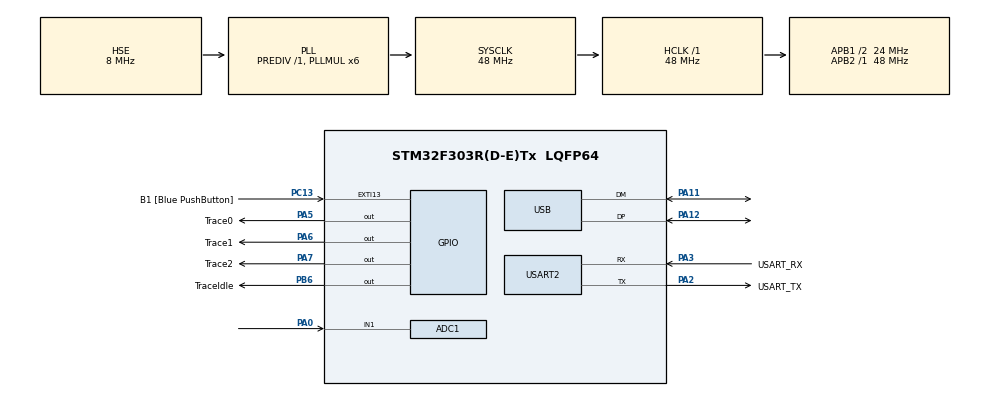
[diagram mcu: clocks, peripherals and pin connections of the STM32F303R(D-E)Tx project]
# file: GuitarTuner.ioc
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ADC1.Channel-0\#ChannelRegularConversion=ADC_CHANNEL_1
ADC1.ContinuousConvMode=DISABLE
ADC1.DMAContinuousRequests=ENABLE
ADC1.ExternalTrigConv=ADC_EXTERNALTRIGCONV_T6_TRGO
ADC1.NbrOfConversion=1
ADC1.NbrOfConversionFlag=1
ADC1.Offset-0\#ChannelRegularConversion=0
ADC1.OffsetNumber-0\#ChannelRegularConversion=ADC_OFFSET_NONE
ADC1.Rank-0\#ChannelRegularConversion=1
ADC1.SamplingTime-0\#ChannelRegularConversion=ADC_SAMPLETIME_1CYCLE_5
ADC1.master=1
Dma.ADC1.0.Direction=DMA_PERIPH_TO_MEMORY
Dma.ADC1.0.Instance=DMA1_Channel1
Dma.ADC1.0.MemDataAlignment=DMA_MDATAALIGN_WORD
Dma.ADC1.0.MemInc=DMA_MINC_ENABLE
Dma.ADC1.0.Mode=DMA_CIRCULAR
Dma.ADC1.0.PeriphDataAlignment=DMA_PDATAALIGN_HALFWORD
Dma.ADC1.0.PeriphInc=DMA_PINC_DISABLE
Dma.ADC1.0.Priority=DMA_PRIORITY_LOW
Dma.Request0=ADC1
FREERTOS.Tasks01=DMATask,24,128,StartDMATask,Default,NULL,Dynamic,NULL,NULL;fftTask,23,128,StartfftTaskTask,Default,NULL,Dynamic,NULL,NULL;elaborateFftDat,8,128,elaborateFftData,Default,NULL,Dynamic,NULL,NULL
FREERTOS.configUSE_IDLE_HOOK=1
FREERTOS.configUSE_NEWLIB_REENTRANT=1
Mcu.Family=STM32F3
Mcu.Name=STM32F303R(D-E)Tx
Mcu.Package=LQFP64
NVIC.DMA1_Channel1_IRQn=true\:5\:0\:false\:false\:true\:true\:false\:true\:true
NVIC.PriorityGroup=NVIC_PRIORITYGROUP_4
NVIC.TIM1_UP_TIM16_IRQn=true\:15\:0\:false\:false\:true\:false\:false\:true\:true
NVIC.TimeBase=TIM1_UP_TIM16_IRQn
NVIC.TimeBaseIP=TIM1
NVIC.USB_LP_CAN_RX0_IRQn=true\:5\:0\:false\:false\:true\:true\:false\:true\:true
PA0.Mode=IN1-Single-Ended
PA0.Signal=ADC1_IN1
PA11.Mode=Device
PA11.Signal=USB_DM
PA12.Mode=Device
PA12.Signal=USB_DP
PA13.GPIO_Label=TMS
PA13.Mode=Serial_Wire
PA13.Signal=SYS_JTMS-SWDIO
PA14.GPIO_Label=TCK
PA14.Mode=Serial_Wire
PA14.Signal=SYS_JTCK-SWCLK
PA2.GPIO_Label=USART_TX
PA2.GPIO_Mode=GPIO_MODE_AF_PP
PA2.GPIO_PuPd=GPIO_NOPULL
PA2.GPIO_Speed=GPIO_SPEED_FREQ_LOW
PA2.Mode=Asynchronous
PA2.Signal=USART2_TX
PA3.GPIO_Label=USART_RX
PA3.GPIO_Mode=GPIO_MODE_AF_PP
PA3.GPIO_PuPd=GPIO_NOPULL
PA3.GPIO_Speed=GPIO_SPEED_FREQ_LOW
PA3.Mode=Asynchronous
PA3.Signal=USART2_RX
PA5.GPIO_Label=Trace0
PA5.GPIO_Mode=GPIO_MODE_OUTPUT_PP
PA5.GPIO_PuPd=GPIO_NOPULL
PA5.GPIO_Speed=GPIO_SPEED_FREQ_LOW
PA5.Signal=GPIO_Output
PA6.GPIO_Label=Trace1
PA6.Signal=GPIO_Output
PA7.GPIO_Label=Trace2
PA7.Signal=GPIO_Output
PB3.GPIO_Label=SWO
PB3.Signal=SYS_JTDO-TRACESWO
PB6.GPIO_Label=TraceIdle
PB6.Signal=GPIO_Output
PC13.GPIO_Label=B1 [Blue PushButton]
PC13.GPIO_ModeDefaultEXTI=GPIO_MODE_IT_FALLING
PC13.Signal=GPXTI13
PC14-OSC32_IN.Mode=LSE-External-Oscillator
PC14-OSC32_IN.Signal=RCC_OSC32_IN
PC15-OSC32_OUT.Mode=LSE-External-Oscillator
PC15-OSC32_OUT.Signal=RCC_OSC32_OUT
PF0-OSC_IN.Mode=HSE-External-Clock-Source
PF0-OSC_IN.Signal=RCC_OSC_IN
PF1-OSC_OUT.Signal=RCC_OSC_OUT
ProjectManager.HeapSize=0x200
ProjectManager.StackSize=0x400
ProjectManager.TargetToolchain=STM32CubeIDE
RCC.AHBFreq_Value=48000000
RCC.APB1CLKDivider=RCC_HCLK_DIV2
RCC.APB1Freq_Value=24000000
RCC.APB1TimFreq_Value=48000000
RCC.APB2Freq_Value=48000000
RCC.APB2TimFreq_Value=48000000
RCC.CortexFreq_Value=48000000
RCC.HCLKFreq_Value=48000000
RCC.HSE_VALUE=8000000
RCC.HSI_VALUE=8000000
RCC.PLLM=8
RCC.PLLMUL=RCC_PLL_MUL6
RCC.PLLN=336
RCC.PLLP=RCC_PLLP_DIV4
RCC.PLLQ=7
RCC.RCC_PLLsource_Clock_Source_FROM_HSE=RCC_HSE_PREDIV_DIV2
RCC.SYSCLKFreq_VALUE=48000000
RCC.SYSCLKSourceVirtual=RCC_SYSCLKSOURCE_PLLCLK
RCC.USBFreq_Value=48000000
STMicroelectronics.X-CUBE-ALGOBUILD.1.4.0.LibraryCcDSPOoLibraryJjDSPOoLibrary=true
TIM6.Period=195-1
TIM6.Prescaler=48-1
TIM6.TIM_MasterOutputTrigger=TIM_TRGO_UPDATE
TIM7.Period=24-1
TIM7.Prescaler=2-1
USART2.VirtualMode-Asynchronous=VM_ASYNC
USB_DEVICE.CLASS_NAME_FS=CDC
USB_DEVICE.VirtualMode=Cdc
USB_DEVICE.VirtualModeFS=Cdc_FS
VP_FREERTOS_VS_CMSIS_V2.Mode=CMSIS_V2
VP_STMicroelectronics.X-CUBE-ALGOBUILD_VS_DSPOoLibraryJjLibrary_1.4.0_1.4.0.Mode=DSPOoLibraryJjLibrary
VP_SYS_VS_tim1.Mode=TIM1
VP_TIM6_VS_ClockSourceINT.Mode=Enable_Timer
VP_TIM7_VS_ClockSourceINT.Mode=Enable_Timer
VP_USB_DEVICE_VS_USB_DEVICE_CDC_FS.Mode=CDC_FS
board=NUCLEO-F303RE

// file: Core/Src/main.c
/* USER CODE BEGIN Header */
/**
  ******************************************************************************
  * @file           : main.c
  * @brief          : Main program body
  ******************************************************************************
  * @attention
  *
  * Copyright (c) 2024 STMicroelectronics.
  * All rights reserved.
  *
  * This software is licensed under terms that can be found in the LICENSE file
  * in the root directory of this software component.
  * If no LICENSE file comes with this software, it is provided AS-IS.
  *
  ******************************************************************************
  */
/* USER CODE END Header */
#include "main.h"
#include "cmsis_os.h"
#include "usb_device.h"

/* USER CODE BEGIN Includes */
#include <string.h>
#include <stdbool.h>
#include "task.h"
#include "arm_math.h"
/* USER CODE END Includes */

/* USER CODE BEGIN PTD */
  /**
   * @brief Output structure for fft data communication
   */
  typedef struct
  {
	  float mag;
	  float frq;
  } FFt_out;
/* USER CODE END PTD */

/* USER CODE BEGIN PD */
#define SAMPLING_FREQUENCY_HZ 5120

#define ADC_BUFFER_LENGTH 2048
#define PARK_BUFFER_LENGTH (ADC_BUFFER_LENGTH / 2)
#define FFT_BUFFER_LENGTH ADC_BUFFER_LENGTH
/* USER CODE END PD */

ADC_HandleTypeDef hadc1;
DMA_HandleTypeDef hdma_adc1;

TIM_HandleTypeDef htim6;
TIM_HandleTypeDef htim7;

UART_HandleTypeDef huart2;

/* Definitions for DMATask */
osThreadId_t DMATaskHandle;
const osThreadAttr_t DMATask_attributes = {
  .name = "DMATask",
  .stack_size = 128 * 4,
  .priority = (osPriority_t) osPriorityNormal,
};
/* Definitions for fftTask */
osThreadId_t fftTaskHandle;
const osThreadAttr_t fftTask_attributes = {
  .name = "fftTask",
  .stack_size = 128 * 4,
  .priority = (osPriority_t) osPriorityBelowNormal7,
};
/* Definitions for elaborateFftDat */
osThreadId_t elaborateFftDatHandle;
const osThreadAttr_t elaborateFftDat_attributes = {
  .name = "elaborateFftDat",
  .stack_size = 128 * 4,
  .priority = (osPriority_t) osPriorityLow,
};
/* USER CODE BEGIN PV */
uint32_t buffer_adc [ADC_BUFFER_LENGTH];

float fft_buffer [FFT_BUFFER_LENGTH];

float fft_buffer_result [FFT_BUFFER_LENGTH];

arm_rfft_fast_instance_f32 fftHandler;

uint8_t fftFlag = 0;

FFt_out fft_out[ADC_BUFFER_LENGTH/2];
/* USER CODE END PV */

void SystemClock_Config(void);
static void MX_GPIO_Init(void);
static void MX_DMA_Init(void);
static void MX_USART2_UART_Init(void);
static void MX_ADC1_Init(void);
static void MX_TIM6_Init(void);
static void MX_TIM7_Init(void);
void StartDMATask(void *argument);
void StartfftTaskTask(void *argument);
void elaborateFftData(void *argument);

/* USER CODE BEGIN PFP */
float calc_magnitude(float real_part, float img_part);
/* USER CODE END PFP */

/* USER CODE BEGIN 0 */

float calc_magnitude(float real_part, float img_part)
{
	return sqrt(real_part*real_part + img_part*img_part);
}

/* USER CODE END 0 */

int main(void)
{

  /* MCU Configuration--------------------------------------------------------*/

  /* Reset of all peripherals, Initializes the Flash interface and the Systick. */
  HAL_Init();

  /* Configure the system clock */
  SystemClock_Config();

  /* Initialize all configured peripherals */
  MX_GPIO_Init();
  MX_DMA_Init();
  MX_USART2_UART_Init();
  MX_ADC1_Init();
  MX_TIM6_Init();
  MX_TIM7_Init();
  /* USER CODE BEGIN 2 */

  arm_rfft_fast_init_f32(&fftHandler, FFT_BUFFER_LENGTH);
  /* USER CODE END 2 */

  /* Init scheduler */
  osKernelInitialize();

  /* Create the thread(s) */
  /* creation of DMATask */
  DMATaskHandle = osThreadNew(StartDMATask, NULL, &DMATask_attributes);

  /* creation of fftTask */
  fftTaskHandle = osThreadNew(StartfftTaskTask, NULL, &fftTask_attributes);

  /* creation of elaborateFftDat */
  elaborateFftDatHandle = osThreadNew(elaborateFftData, NULL, &elaborateFftDat_attributes);

  /* Start scheduler */
  osKernelStart();

  /* We should never get here as control is now taken by the scheduler */

  /* Infinite loop */
  while (1)
  {

    /* USER CODE BEGIN 3 */
	  //HAL_Delay(150);
	  //HAL_GPIO_TogglePin(GPIOA, Trace1_Pin);
  }
  /* USER CODE END 3 */
}

void SystemClock_Config(void)
{
  RCC_OscInitTypeDef RCC_OscInitStruct = {0};
  RCC_ClkInitTypeDef RCC_ClkInitStruct = {0};
  RCC_PeriphCLKInitTypeDef PeriphClkInit = {0};

  /** Initializes the RCC Oscillators according to the specified parameters
  * in the RCC_OscInitTypeDef structure.
  */
  RCC_OscInitStruct.OscillatorType = RCC_OSCILLATORTYPE_HSE;
  RCC_OscInitStruct.HSEState = RCC_HSE_BYPASS;
  RCC_OscInitStruct.HSIState = RCC_HSI_ON;
  RCC_OscInitStruct.PLL.PLLState = RCC_PLL_ON;
  RCC_OscInitStruct.PLL.PLLSource = RCC_PLLSOURCE_HSE;
  RCC_OscInitStruct.PLL.PLLMUL = RCC_PLL_MUL6;
  RCC_OscInitStruct.PLL.PREDIV = RCC_PREDIV_DIV1;
  if (HAL_RCC_OscConfig(&RCC_OscInitStruct) != HAL_OK)
  {
    Error_Handler();
  }

  /** Initializes the CPU, AHB and APB buses clocks
  */
  RCC_ClkInitStruct.ClockType = RCC_CLOCKTYPE_HCLK|RCC_CLOCKTYPE_SYSCLK
                              |RCC_CLOCKTYPE_PCLK1|RCC_CLOCKTYPE_PCLK2;
  RCC_ClkInitStruct.SYSCLKSource = RCC_SYSCLKSOURCE_PLLCLK;
  RCC_ClkInitStruct.AHBCLKDivider = RCC_SYSCLK_DIV1;
  RCC_ClkInitStruct.APB1CLKDivider = RCC_HCLK_DIV2;
  RCC_ClkInitStruct.APB2CLKDivider = RCC_HCLK_DIV1;

  if (HAL_RCC_ClockConfig(&RCC_ClkInitStruct, FLASH_LATENCY_1) != HAL_OK)
  {
    Error_Handler();
  }
  PeriphClkInit.PeriphClockSelection = RCC_PERIPHCLK_USB|RCC_PERIPHCLK_USART2
                              |RCC_PERIPHCLK_ADC12;
  PeriphClkInit.Usart2ClockSelection = RCC_USART2CLKSOURCE_PCLK1;
  PeriphClkInit.Adc12ClockSelection = RCC_ADC12PLLCLK_DIV1;
  PeriphClkInit.USBClockSelection = RCC_USBCLKSOURCE_PLL;
  if (HAL_RCCEx_PeriphCLKConfig(&PeriphClkInit) != HAL_OK)
  {
    Error_Handler();
  }
}

static void MX_ADC1_Init(void)
{

  ADC_MultiModeTypeDef multimode = {0};
  ADC_ChannelConfTypeDef sConfig = {0};

  /** Common config
  */
  hadc1.Instance = ADC1;
  hadc1.Init.ClockPrescaler = ADC_CLOCK_ASYNC_DIV1;
  hadc1.Init.Resolution = ADC_RESOLUTION_12B;
  hadc1.Init.ScanConvMode = ADC_SCAN_DISABLE;
  hadc1.Init.ContinuousConvMode = DISABLE;
  hadc1.Init.DiscontinuousConvMode = DISABLE;
  hadc1.Init.ExternalTrigConvEdge = ADC_EXTERNALTRIGCONVEDGE_RISING;
  hadc1.Init.ExternalTrigConv = ADC_EXTERNALTRIGCONV_T6_TRGO;
  hadc1.Init.DataAlign = ADC_DATAALIGN_RIGHT;
  hadc1.Init.NbrOfConversion = 1;
  hadc1.Init.DMAContinuousRequests = ENABLE;
  hadc1.Init.EOCSelection = ADC_EOC_SINGLE_CONV;
  hadc1.Init.LowPowerAutoWait = DISABLE;
  hadc1.Init.Overrun = ADC_OVR_DATA_OVERWRITTEN;
  if (HAL_ADC_Init(&hadc1) != HAL_OK)
  {
    Error_Handler();
  }

  /** Configure the ADC multi-mode
  */
  multimode.Mode = ADC_MODE_INDEPENDENT;
  if (HAL_ADCEx_MultiModeConfigChannel(&hadc1, &multimode) != HAL_OK)
  {
    Error_Handler();
  }

  /** Configure Regular Channel
  */
  sConfig.Channel = ADC_CHANNEL_1;
  sConfig.Rank = ADC_REGULAR_RANK_1;
  sConfig.SingleDiff = ADC_SINGLE_ENDED;
  sConfig.SamplingTime = ADC_SAMPLETIME_1CYCLE_5;
  sConfig.OffsetNumber = ADC_OFFSET_NONE;
  sConfig.Offset = 0;
  if (HAL_ADC_ConfigChannel(&hadc1, &sConfig) != HAL_OK)
  {
    Error_Handler();
  }

}

static void MX_TIM6_Init(void)
{

  TIM_MasterConfigTypeDef sMasterConfig = {0};

  htim6.Instance = TIM6;
  htim6.Init.Prescaler = 48-1;
  htim6.Init.CounterMode = TIM_COUNTERMODE_UP;
  htim6.Init.Period = 195-1;
  htim6.Init.AutoReloadPreload = TIM_AUTORELOAD_PRELOAD_DISABLE;
  if (HAL_TIM_Base_Init(&htim6) != HAL_OK)
  {
    Error_Handler();
  }
  sMasterConfig.MasterOutputTrigger = TIM_TRGO_UPDATE;
  sMasterConfig.MasterSlaveMode = TIM_MASTERSLAVEMODE_DISABLE;
  if (HAL_TIMEx_MasterConfigSynchronization(&htim6, &sMasterConfig) != HAL_OK)
  {
    Error_Handler();
  }

}

static void MX_TIM7_Init(void)
{

  TIM_MasterConfigTypeDef sMasterConfig = {0};

  htim7.Instance = TIM7;
  htim7.Init.Prescaler = 2-1;
  htim7.Init.CounterMode = TIM_COUNTERMODE_UP;
  htim7.Init.Period = 24-1;
  htim7.Init.AutoReloadPreload = TIM_AUTORELOAD_PRELOAD_DISABLE;
  if (HAL_TIM_Base_Init(&htim7) != HAL_OK)
  {
    Error_Handler();
  }
  sMasterConfig.MasterOutputTrigger = TIM_TRGO_RESET;
  sMasterConfig.MasterSlaveMode = TIM_MASTERSLAVEMODE_DISABLE;
  if (HAL_TIMEx_MasterConfigSynchronization(&htim7, &sMasterConfig) != HAL_OK)
  {
    Error_Handler();
  }

}

static void MX_USART2_UART_Init(void)
{

  huart2.Instance = USART2;
  huart2.Init.BaudRate = 38400;
  huart2.Init.WordLength = UART_WORDLENGTH_8B;
  huart2.Init.StopBits = UART_STOPBITS_1;
  huart2.Init.Parity = UART_PARITY_NONE;
  huart2.Init.Mode = UART_MODE_TX_RX;
  huart2.Init.HwFlowCtl = UART_HWCONTROL_NONE;
  huart2.Init.OverSampling = UART_OVERSAMPLING_16;
  huart2.Init.OneBitSampling = UART_ONE_BIT_SAMPLE_DISABLE;
  huart2.AdvancedInit.AdvFeatureInit = UART_ADVFEATURE_NO_INIT;
  if (HAL_UART_Init(&huart2) != HAL_OK)
  {
    Error_Handler();
  }

}

static void MX_DMA_Init(void)
{

  /* DMA controller clock enable */
  __HAL_RCC_DMA1_CLK_ENABLE();

  /* DMA interrupt init */
  /* DMA1_Channel1_IRQn interrupt configuration */
  HAL_NVIC_SetPriority(DMA1_Channel1_IRQn, 5, 0);
  HAL_NVIC_EnableIRQ(DMA1_Channel1_IRQn);

}

static void MX_GPIO_Init(void)
{
  GPIO_InitTypeDef GPIO_InitStruct = {0};

  /* GPIO Ports Clock Enable */
  __HAL_RCC_GPIOC_CLK_ENABLE();
  __HAL_RCC_GPIOF_CLK_ENABLE();
  __HAL_RCC_GPIOA_CLK_ENABLE();
  __HAL_RCC_GPIOB_CLK_ENABLE();

  /*Configure GPIO pin Output Level */
  HAL_GPIO_WritePin(GPIOA, Trace0_Pin|Trace1_Pin|Trace2_Pin, GPIO_PIN_RESET);

  /*Configure GPIO pin Output Level */
  HAL_GPIO_WritePin(TraceIdle_GPIO_Port, TraceIdle_Pin, GPIO_PIN_RESET);

  /*Configure GPIO pin : B1_Pin */
  GPIO_InitStruct.Pin = B1_Pin;
  GPIO_InitStruct.Mode = GPIO_MODE_IT_FALLING;
  GPIO_InitStruct.Pull = GPIO_NOPULL;
  HAL_GPIO_Init(B1_GPIO_Port, &GPIO_InitStruct);

  /*Configure GPIO pins : Trace0_Pin Trace1_Pin Trace2_Pin */
  GPIO_InitStruct.Pin = Trace0_Pin|Trace1_Pin|Trace2_Pin;
  GPIO_InitStruct.Mode = GPIO_MODE_OUTPUT_PP;
  GPIO_InitStruct.Pull = GPIO_NOPULL;
  GPIO_InitStruct.Speed = GPIO_SPEED_FREQ_LOW;
  HAL_GPIO_Init(GPIOA, &GPIO_InitStruct);

  /*Configure GPIO pin : TraceIdle_Pin */
  GPIO_InitStruct.Pin = TraceIdle_Pin;
  GPIO_InitStruct.Mode = GPIO_MODE_OUTPUT_PP;
  GPIO_InitStruct.Pull = GPIO_NOPULL;
  GPIO_InitStruct.Speed = GPIO_SPEED_FREQ_LOW;
  HAL_GPIO_Init(TraceIdle_GPIO_Port, &GPIO_InitStruct);

}

/* USER CODE BEGIN 4 */
void HAL_ADC_ConvHalfCpltCallback(ADC_HandleTypeDef* hadc)
{
	//BaseType_t xHigherPriorityTaskWoken = pdFALSE;

	/* Notify the task that the transmission is complete. */
	vTaskNotifyGiveFromISR( DMATaskHandle, pdFALSE );
	//HAL_GPIO_TogglePin(GPIOA, Trace0_Pin);
}
void  HAL_ADC_ConvCpltCallback(ADC_HandleTypeDef* hadc)
{
	//BaseType_t xHigherPriorityTaskWoken = pdFALSE;

	/* Notify the task that the transmission is complete. */
	vTaskNotifyGiveFromISR( DMATaskHandle, pdFALSE );
	//HAL_GPIO_TogglePin(GPIOA, Trace0_Pin);
}
/* USER CODE END 4 */

void StartDMATask(void *argument)
{
  /* init code for USB_DEVICE */
  MX_USB_DEVICE_Init();
  /* USER CODE BEGIN 5 */
  static bool sampled_first_half = true;

  uint32_t DMAnotificationValue;

  HAL_ADC_Start_DMA(&hadc1, buffer_adc, ADC_BUFFER_LENGTH);

  HAL_TIM_Base_Start(&htim6);
  HAL_TIM_Base_Start(&htim7);
  /* Infinite loop */
  for(;;)
  {
	  DMAnotificationValue = ulTaskNotifyTake(pdTRUE, portMAX_DELAY);

	  if(DMAnotificationValue == 1)
	  {
		  //debug
		  HAL_GPIO_TogglePin(GPIOA, Trace0_Pin);

		  //potrei evitare che questa operazione venga eseguita una volta, la
		  //prima volta che arrivo qui ma mi sembra un marginal gain dato che
		  //tutte le altre volte che viene qua deve eseguirla. Una FSM, per
		  //quanto elegante sembra un overkill e mi sembra renda il codice più
		  //complesso da leggere e manutenere. Da implementare qualora le
		  //elaborazioni da fare qui risultino più complesse
		  memcpy(fft_buffer, &fft_buffer[PARK_BUFFER_LENGTH], sizeof(float)*PARK_BUFFER_LENGTH);

		  if(sampled_first_half)
		  {
			  for(int i = 0; i<PARK_BUFFER_LENGTH; i++)
				  fft_buffer[PARK_BUFFER_LENGTH+i] = (float)buffer_adc[i];
		  }
		  else
		  {
			  for(int i = 0; i<PARK_BUFFER_LENGTH; i++)
				  fft_buffer[PARK_BUFFER_LENGTH+i] = (float)buffer_adc[PARK_BUFFER_LENGTH+i];
		  }

		  //punto al prossimo inizio del blocco da 1024 elementi in buffer adc
		  sampled_first_half = !sampled_first_half;

		  xTaskNotifyGive(fftTaskHandle);

		  //debug
		  HAL_GPIO_TogglePin(GPIOA, Trace0_Pin);
	  }

  }
  /* USER CODE END 5 */
}

void StartfftTaskTask(void *argument)
{
  /* USER CODE BEGIN StartfftTaskTask */
  uint32_t fftnotificationValue;
  /* Infinite loop */
  for(;;)
  {
	  fftnotificationValue = ulTaskNotifyTake(pdTRUE, portMAX_DELAY);

	  if(fftnotificationValue == 1)
	  {
		  //debug
		  HAL_GPIO_TogglePin(GPIOA, Trace1_Pin);

		  //eseguire la fft
		  arm_rfft_fast_f32(&fftHandler, fft_buffer, fft_buffer_result, 0);

		  xTaskNotifyGive(elaborateFftDatHandle);

		  //debug
		  HAL_GPIO_TogglePin(GPIOA, Trace1_Pin);
	  }
  }
  /* USER CODE END StartfftTaskTask */
}

void elaborateFftData(void *argument)
{
  /* USER CODE BEGIN elaborateFftData */
  uint32_t fftnotificationValue;

  //inizializzo il campo contenente i bin della frequenza, non devo
  //ricalcolarlo ogni volta ma solo la prima
  for(int32_t cnt = 0; cnt < ADC_BUFFER_LENGTH/2; cnt++)
  {
	  fft_out[cnt/2].frq = (cnt*SAMPLING_FREQUENCY_HZ)/ADC_BUFFER_LENGTH;
  }
  /* Infinite loop */
  for(;;)
  {
	  fftnotificationValue = ulTaskNotifyTake(pdTRUE, portMAX_DELAY);

	  if(fftnotificationValue == 1)
	  {
		  //debug
		  HAL_GPIO_TogglePin(GPIOA, Trace2_Pin);

		  //fft_buffer_result contains imaginary numbers, the magnitude
		  //must be evaluated in order to recover the tones strength
		  //frequency bins must be evaluated
		  //after that data shall be sent through USB communication
		  for(int32_t cnt = 0; cnt < (ADC_BUFFER_LENGTH-2); cnt += 2)
		  {
			  fft_out[cnt/2].mag = calc_magnitude(fft_buffer_result[cnt],fft_buffer_result[cnt+1]);
		  }

		  //debug
		  HAL_GPIO_TogglePin(GPIOA, Trace2_Pin);
	  }
  }
  /* USER CODE END elaborateFftData */
}

void HAL_TIM_PeriodElapsedCallback(TIM_HandleTypeDef *htim)
{
  if (htim->Instance == TIM1) {
    HAL_IncTick();
  }
}

void Error_Handler(void)
{
  __disable_irq();
  while (1)
  {
  }
}
